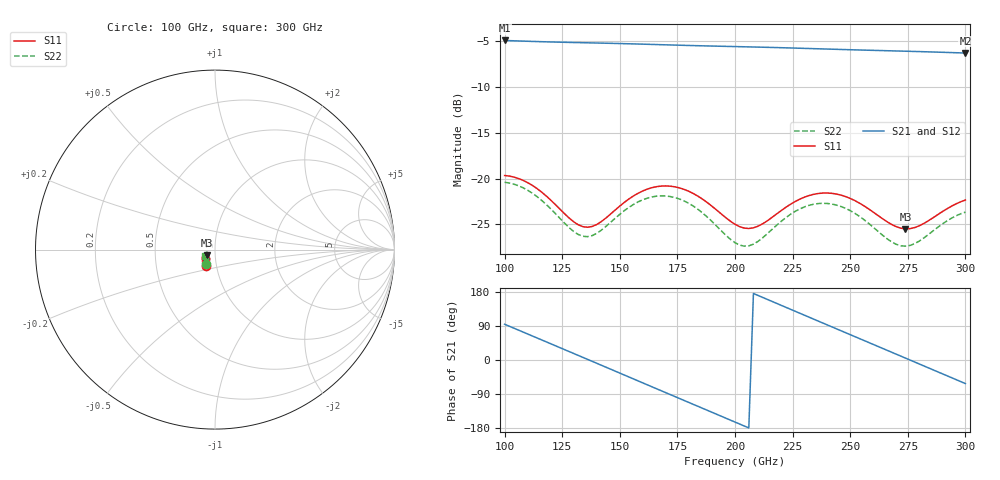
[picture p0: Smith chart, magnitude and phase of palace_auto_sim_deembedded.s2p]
! Created with skrf 1.11.0 (http://scikit-rf.org).
# GHz S DB R 50.0
!freq dBS11 angS11 dBS21 angS21 dBS12 angS12 dBS22 angS22
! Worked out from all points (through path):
!   101 points, 100 GHz to 300 GHz, reference 50 ohm
!   highest |S21| = -4.95 dB at 100 GHz (marker M1); lowest = -6.3 dB at 300 GHz (marker M2)
!   group delay of S21, straight-line fit = 7.18 ps
!   lowest |S11| = -25.5 dB at 274 GHz (marker M3), VSWR 1.11, Z = 45.8 - j2.94 ohm
!   |S11| at or under -10 dB: start of sweep to end of sweep
!   |S22| runs from -27.4 to -20.4 dB; largest |S21 - S12| = 6.3e-14
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100  -19.67 -119.6  -4.95 94.4  -4.95 94.4  -20.41 -123.6
108  -20.20 -131.1  -5.02 73.8  -5.02 73.8  -21.01 -135.4
116  -21.46 -139.9  -5.08 53.2  -5.08 53.2  -22.36 -144.6
126  -23.83 -142.2  -5.15 27.5  -5.15 27.5  -24.86 -146.8
134  -25.25 -132.6  -5.19 6.8  -5.19 6.8  -26.29 -136.7
142  -24.69 -120.1  -5.24 -13.9  -5.24 -13.9  -25.63 -124.4
150  -23.00 -116.8  -5.28 -34.6  -5.28 -34.6  -23.90 -122.1
160  -21.35 -123.5  -5.35 -60.5  -5.35 -60.5  -22.31 -130.1
168  -20.82 -132.5  -5.41 -81.2  -5.41 -81.2  -21.89 -140.0
182  -21.64 -148.0  -5.51 -117.3  -5.51 -117.3  -23.02 -156.8
192  -23.43 -152.8  -5.57 -143.1  -5.57 -143.1  -25.17 -161.4
200  -24.98 -148.0  -5.62 -163.8  -5.62 -163.8  -26.99 -154.3
206  -25.44 -139.5  -5.65 -179.3  -5.65 -179.3  -27.33 -143.2
216  -24.25 -128.4  -5.71 154.8  -5.71 154.8  -25.56 -131.7
226  -22.52 -129.6  -5.78 128.9  -5.78 128.9  -23.60 -135.2
234  -21.73 -135.9  -5.84 108.2  -5.84 108.2  -22.81 -143.2
242  -21.61 -143.6  -5.90 87.6  -5.90 87.6  -22.78 -152.4
250  -22.17 -150.6  -5.96 66.9  -5.96 66.9  -23.50 -160.5
268  -25.01 -150.5  -6.08 20.5  -6.08 20.5  -26.91 -159.6
274  -25.48 -143.1  -6.12 5.0  -6.12 5.0  -27.37 -150.5
286  -24.27 -131.1  -6.21 -26.0  -6.21 -26.0  -25.70 -138.0
300  -22.34 -134.5  -6.32 -62.2  -6.32 -62.2  -23.66 -144.4
